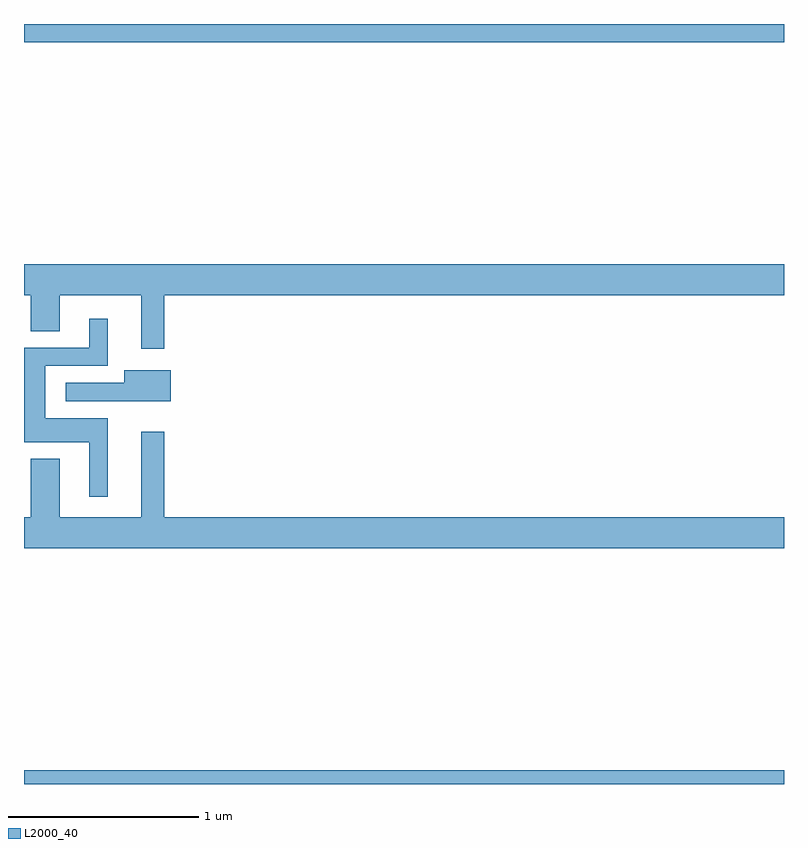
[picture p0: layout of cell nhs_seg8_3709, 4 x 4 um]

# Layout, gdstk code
import gdstk
lib = gdstk.Library(unit=1e-6, precision=1e-09)
def R(c, l, rs):  # rectangles x0, y0, x1, y1
    for r in rs: c.add(gdstk.rectangle(r[:2], r[2:], *l))
def P(c, l, *ps):  # polygons
    for p in ps: c.add(gdstk.Polygon(p, *l))
L2000_40 = (2000, 40)

nhs_seg8_3709 = lib.new_cell('nhs_seg8_3709')
R(nhs_seg8_3709, L2000_40, [(339,1141.9,343,1141.972), (339,1145.804,343,1145.9)])
P(nhs_seg8_3709, L2000_40, [(339,1144.472),(339.035,1144.472),(339.035,1144.282),(339.187,1144.282),(339.187,1144.472),(339.617,1144.472),(339.617,1144.191),(339.739,1144.191),(339.739,1144.472),(343,1144.472),(343,1144.636),(339,1144.636)],
  [(339.442,1143.826),(339.112,1143.826),(339.112,1144.101),(339.442,1144.101),(339.442,1144.348),(339.344,1144.348),(339.344,1144.197),(339,1144.197),(339,1143.698),(339.344,1143.698),(339.344,1143.411),(339.442,1143.411)],
  [(339.772,1144.078),(339.527,1144.078),(339.527,1144.011),(339.219,1144.011),(339.219,1143.915),(339.531,1143.915),(339.531,1143.914),(339.772,1143.914)],
  [(343,1143.304),(339.739,1143.304),(339.739,1143.754),(339.617,1143.754),(339.617,1143.304),(339.187,1143.304),(339.187,1143.613),(339.035,1143.613),(339.035,1143.304),(339,1143.304),(339,1143.14),(343,1143.14)])

lib.write_gds('nhs_seg8_3709.gds')
